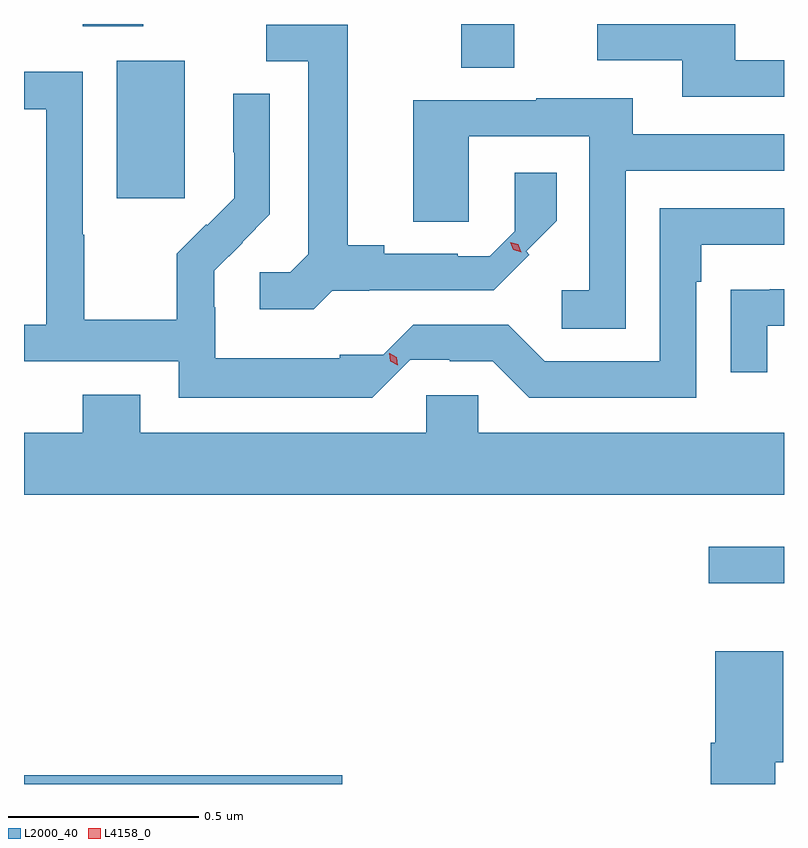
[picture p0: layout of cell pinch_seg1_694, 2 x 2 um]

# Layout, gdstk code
import gdstk
lib = gdstk.Library(unit=1e-6, precision=1e-09)
def R(c, l, rs):  # rectangles x0, y0, x1, y1
    for r in rs: c.add(gdstk.rectangle(r[:2], r[2:], *l))
def P(c, l, *ps):  # polygons
    for p in ps: c.add(gdstk.Polygon(p, *l))
L2000_40 = (2000, 40)
L4158_0 = (4158, 0)

pinch_seg1_694 = lib.new_cell('pinch_seg1_694')
R(pinch_seg1_694, L2000_40, [(656.809,545.643,657.646,545.666), (658.611,546.171,658.809,546.268), (657.053,547.185,657.232,547.546), (657.959,547.528,658.099,547.643), (656.963,547.637,657.123,547.643)])
P(pinch_seg1_694, L2000_40, [(658.809,547.548),(658.681,547.548),(658.681,547.643),(658.317,547.643),(658.317,547.548),(658.541,547.548),(658.541,547.452),(658.809,547.452)],
  [(657.62,546.941),(657.718,546.941),(657.718,546.942),(658.045,546.942),(658.139,547.036),(658.131,547.045),(658.211,547.125),(658.211,547.252),(658.101,547.252),(658.101,547.098),(658.035,547.032),(657.95,547.032),(657.95,547.038),(657.757,547.038),(657.757,547.061),(657.661,547.061),(657.661,547.641),(657.447,547.641),(657.447,547.545),(657.557,547.545),(657.557,547.037),(657.51,546.99),(657.429,546.99),(657.429,546.893),(657.572,546.893)],
  [(657.826,546.759),(657.93,546.759),(657.93,546.756),(658.043,546.756),(658.139,546.66),(658.578,546.66),(658.578,546.965),(658.591,546.965),(658.591,547.062),(658.809,547.062),(658.809,547.158),(658.482,547.158),(658.482,546.756),(658.179,546.756),(658.083,546.852),(657.833,546.852),(657.754,546.773),(657.64,546.773),(657.64,546.763),(657.312,546.763),(657.312,546.897),(657.31,546.897),(657.31,546.994),(657.384,547.068),(657.383,547.069),(657.456,547.142),(657.456,547.46),(657.36,547.46),(657.36,547.306),(657.362,547.306),(657.362,547.184),(657.291,547.113),(657.288,547.116),(657.211,547.039),(657.211,546.865),(656.967,546.865),(656.967,547.088),(656.964,547.088),(656.964,547.518),(656.809,547.518),(656.809,547.419),(656.868,547.419),(656.868,546.852),(656.809,546.852),(656.809,546.756),(657.216,546.756),(657.216,546.659),(657.726,546.659)],
  [(658.392,547.257),(658.809,547.257),(658.809,547.353),(658.411,547.353),(658.411,547.447),(658.157,547.447),(658.157,547.443),(657.833,547.443),(657.833,547.123),(657.979,547.123),(657.979,547.347),(658.296,547.347),(658.296,546.942),(658.224,546.942),(658.224,546.841),(658.392,546.841)],
  [(658.765,546.849),(658.809,546.849),(658.809,546.945),(658.771,546.945),(658.771,546.944),(658.669,546.944),(658.669,546.726),(658.765,546.726)],
  [(658.809,546.568),(658.005,546.568),(658.005,546.666),(657.867,546.666),(657.867,546.568),(657.115,546.568),(657.115,546.667),(656.963,546.667),(656.963,546.568),(656.809,546.568),(656.809,546.404),(658.809,546.404)],
  [(658.786,545.7),(658.807,545.7),(658.807,545.992),(658.628,545.992),(658.628,545.752),(658.616,545.752),(658.616,545.643),(658.786,545.643)])
P(pinch_seg1_694, L4158_0, [(657.792,546.745),(657.773,546.755),(657.77,546.776),(657.77,546.776),(657.771,546.776),(657.79,546.766),(657.792,546.745),(657.792,546.745)],
  [(658.118,547.043),(658.096,547.049),(658.088,547.069),(658.088,547.069),(658.088,547.069),(658.109,547.064),(658.118,547.043),(658.118,547.043)])

lib.write_gds('pinch_seg1_694.gds')
